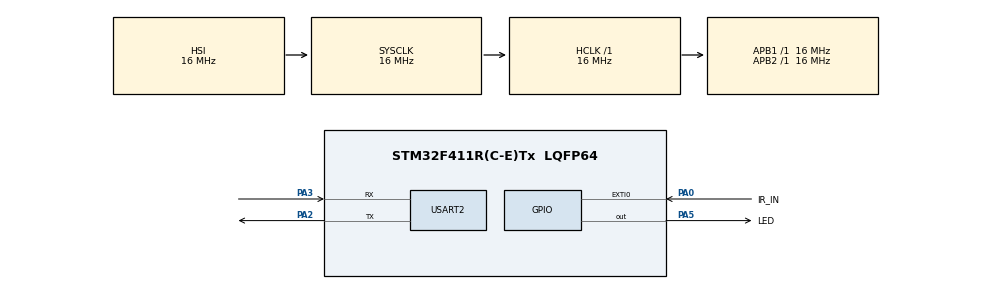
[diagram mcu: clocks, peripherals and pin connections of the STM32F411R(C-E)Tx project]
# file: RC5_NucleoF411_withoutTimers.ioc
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Mcu.Family=STM32F4
Mcu.Name=STM32F411R(C-E)Tx
Mcu.Package=LQFP64
NVIC.EXTI0_IRQn=true\:0\:0\:false\:false\:true\:true\:true\:true
NVIC.PriorityGroup=NVIC_PRIORITYGROUP_4
PA0-WKUP.GPIO_Label=IR_IN
PA0-WKUP.GPIO_ModeDefaultEXTI=GPIO_MODE_IT_RISING_FALLING
PA0-WKUP.Signal=GPXTI0
PA13.Mode=Serial_Wire
PA13.Signal=SYS_JTMS-SWDIO
PA14.Mode=Serial_Wire
PA14.Signal=SYS_JTCK-SWCLK
PA2.Mode=Asynchronous
PA2.Signal=USART2_TX
PA3.Mode=Asynchronous
PA3.Signal=USART2_RX
PA5.GPIO_Label=LED
PA5.Signal=GPIO_Output
ProjectManager.HeapSize=0x200
ProjectManager.StackSize=0x400
ProjectManager.TargetToolchain=STM32CubeIDE
RCC.AHBFreq_Value=16000000
RCC.APB1Freq_Value=16000000
RCC.APB2Freq_Value=16000000
RCC.CortexFreq_Value=16000000
RCC.HSE_VALUE=25000000
RCC.HSI_VALUE=16000000
RCC.LSE_VALUE=32768
RCC.SYSCLKFreq_VALUE=16000000
RCC.VCOOutputFreq_Value=192000000
USART2.VirtualMode=VM_ASYNC
board=custom

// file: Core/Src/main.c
/* USER CODE BEGIN Header */
/**
  ******************************************************************************
  * @file           : main.c
  * @brief          : Main program body
  ******************************************************************************
  * @attention
  *
  * Copyright (c) 2025 STMicroelectronics.
  * All rights reserved.
  *
  * This software is licensed under terms that can be found in the LICENSE file
  * Software made by: Bartosz Wojciechowski
  *
  * software is based on the Arduino RC5 library: https://github.com/guyc/RC5
			 *  RC5 Arduino Library
			 *  Guy Carpenter, Clearwater Software - 2013
			 *  Licensed under the BSD2 license, see LICENSE for details.

  *
  *
  *All text above must be included in any redistribution.
  *
  ******************************************************************************
  */
/* USER CODE END Header */
#include "main.h"

/* USER CODE BEGIN Includes */
#include <stdbool.h>
#include <stdio.h>

/* USER CODE END Includes */

/* USER CODE BEGIN PTD */

#define MIN_SHORT  444
#define MAX_SHORT 1333
#define MIN_LONG  1334
#define MAX_LONG  2222

#define EVENT_SHORTSPACE  0
#define EVENT_SHORTPULSE  2
#define EVENT_LONGSPACE   4
#define EVENT_LONGPULSE   6

#define STATE_START1 0
#define STATE_MID1   1
#define STATE_MID0   2
#define STATE_START0 3

#define S2_MASK       0x1000  // 1 bit
#define S2_SHIFT      12
#define TOGGLE_MASK   0x0800  // 1 bit
#define TOGGLE_SHIFT  11
#define ADDRESS_MASK  0x7C0  //  5 bits
#define ADDRESS_SHIFT 6
#define COMMAND_MASK  0x003F //  low 6 bits
#define COMMAND_SHIFT 0

/* USER CODE END PTD */

UART_HandleTypeDef huart2;

void SystemClock_Config(void);
static void MX_GPIO_Init(void);
static void MX_USART2_UART_Init(void);

/* USER CODE BEGIN 0 */
uint32_t micros() {
    uint32_t m;
    uint32_t t;
    uint32_t reload = SysTick->LOAD;
    uint32_t clk_per_us = HAL_RCC_GetHCLKFreq() / 1000000;
    m = HAL_GetTick();   // Read milliseconds
    t = SysTick->VAL;    // Read SysTick counter (decreasing)
    return (m * 1000) + ((reload - t) / clk_per_us);
}

//variables for RC5 functions
const uint8_t trans[] = {0x01,
                               0x91,
                               0x9B,
                               0xFB};

unsigned char state;
uint32_t time0;
GPIO_PinState lastValue;
uint8_t bits;
uint16_t command;

//variables for main code
unsigned char toggle;
unsigned char address;
unsigned char rcommand;
bool  receivedDataTrig = false;

/* USER CODE END 0 */

int main(void)
{

  /* MCU Configuration--------------------------------------------------------*/

  /* Reset of all peripherals, Initializes the Flash interface and the Systick. */
  HAL_Init();

  /* Configure the system clock */
  SystemClock_Config();

  /* Initialize all configured peripherals */
  MX_GPIO_Init();
  MX_USART2_UART_Init();

  /* Infinite loop */
  while (1)
  {

    /* USER CODE BEGIN 3 */

	  if (true == receivedDataTrig)
	  {

	  	char buffer[64];
	  	int length = snprintf(buffer, sizeof(buffer), "RC5:Toggle=%d, Address=%d, Command=%d \r\n", toggle, address, rcommand);
	  	HAL_UART_Transmit(&huart2, (uint8_t*)buffer, length, HAL_MAX_DELAY);
	  receivedDataTrig = false;

	  }
  }
  /* USER CODE END 3 */
}

void SystemClock_Config(void)
{
  RCC_OscInitTypeDef RCC_OscInitStruct = {0};
  RCC_ClkInitTypeDef RCC_ClkInitStruct = {0};

  /** Configure the main internal regulator output voltage
  */
  __HAL_RCC_PWR_CLK_ENABLE();
  __HAL_PWR_VOLTAGESCALING_CONFIG(PWR_REGULATOR_VOLTAGE_SCALE1);

  /** Initializes the RCC Oscillators according to the specified parameters
  * in the RCC_OscInitTypeDef structure.
  */
  RCC_OscInitStruct.OscillatorType = RCC_OSCILLATORTYPE_HSI;
  RCC_OscInitStruct.HSIState = RCC_HSI_ON;
  RCC_OscInitStruct.HSICalibrationValue = RCC_HSICALIBRATION_DEFAULT;
  RCC_OscInitStruct.PLL.PLLState = RCC_PLL_NONE;
  if (HAL_RCC_OscConfig(&RCC_OscInitStruct) != HAL_OK)
  {
    Error_Handler();
  }

  /** Initializes the CPU, AHB and APB buses clocks
  */
  RCC_ClkInitStruct.ClockType = RCC_CLOCKTYPE_HCLK|RCC_CLOCKTYPE_SYSCLK
                              |RCC_CLOCKTYPE_PCLK1|RCC_CLOCKTYPE_PCLK2;
  RCC_ClkInitStruct.SYSCLKSource = RCC_SYSCLKSOURCE_HSI;
  RCC_ClkInitStruct.AHBCLKDivider = RCC_SYSCLK_DIV1;
  RCC_ClkInitStruct.APB1CLKDivider = RCC_HCLK_DIV1;
  RCC_ClkInitStruct.APB2CLKDivider = RCC_HCLK_DIV1;

  if (HAL_RCC_ClockConfig(&RCC_ClkInitStruct, FLASH_LATENCY_0) != HAL_OK)
  {
    Error_Handler();
  }
}

static void MX_USART2_UART_Init(void)
{

  huart2.Instance = USART2;
  huart2.Init.BaudRate = 115200;
  huart2.Init.WordLength = UART_WORDLENGTH_8B;
  huart2.Init.StopBits = UART_STOPBITS_1;
  huart2.Init.Parity = UART_PARITY_NONE;
  huart2.Init.Mode = UART_MODE_TX_RX;
  huart2.Init.HwFlowCtl = UART_HWCONTROL_NONE;
  huart2.Init.OverSampling = UART_OVERSAMPLING_16;
  if (HAL_UART_Init(&huart2) != HAL_OK)
  {
    Error_Handler();
  }

}

static void MX_GPIO_Init(void)
{
  GPIO_InitTypeDef GPIO_InitStruct = {0};

  /* GPIO Ports Clock Enable */
  __HAL_RCC_GPIOA_CLK_ENABLE();

  /*Configure GPIO pin Output Level */
  HAL_GPIO_WritePin(LED_GPIO_Port, LED_Pin, GPIO_PIN_RESET);

  /*Configure GPIO pin : IR_IN_Pin */
  GPIO_InitStruct.Pin = IR_IN_Pin;
  GPIO_InitStruct.Mode = GPIO_MODE_IT_RISING_FALLING;
  GPIO_InitStruct.Pull = GPIO_NOPULL;
  HAL_GPIO_Init(IR_IN_GPIO_Port, &GPIO_InitStruct);

  /*Configure GPIO pin : LED_Pin */
  GPIO_InitStruct.Pin = LED_Pin;
  GPIO_InitStruct.Mode = GPIO_MODE_OUTPUT_PP;
  GPIO_InitStruct.Pull = GPIO_NOPULL;
  GPIO_InitStruct.Speed = GPIO_SPEED_FREQ_LOW;
  HAL_GPIO_Init(LED_GPIO_Port, &GPIO_InitStruct);

  /* EXTI interrupt init*/
  HAL_NVIC_SetPriority(EXTI0_IRQn, 0, 0);
  HAL_NVIC_EnableIRQ(EXTI0_IRQn);

}

/* USER CODE BEGIN 4 */

void RC5reset()
{
    state = STATE_MID1;
    bits = 1;  // bit counter
    command = 1;
    time0 = micros();
}

void RC5decodeEvent(uint8_t event) //update command
{
    uint8_t newState = (trans[state]>>event) & 0x3;
    if (newState==state) {
        RC5reset();
    } else {
        state = newState;
        if (newState == STATE_MID0) {
            command = (command<<1)+0;
            bits++;
        } else if (newState == STATE_MID1) {
            command = (command<<1)+1;
            bits++;
        }
    }
}

void RC5decodePulse(GPIO_PinState signal, uint32_t period) //determine the event
{
    if (period >= MIN_SHORT && period <= MAX_SHORT) {
    	RC5decodeEvent(signal ? EVENT_SHORTPULSE : EVENT_SHORTSPACE);
    } else if (period >= MIN_LONG && period <= MAX_LONG) {
    	RC5decodeEvent(signal ? EVENT_LONGPULSE : EVENT_LONGSPACE);
    } else {
        // time period out of range, reset
    	RC5reset();
    }
}

bool RC5read1(uint16_t *message) //read RC5
{

	GPIO_PinState value = HAL_GPIO_ReadPin(IR_IN_GPIO_Port, IR_IN_Pin); //adjust to your pin name!!!

    if (value != lastValue) {
    	uint32_t time1 = micros();
    	uint32_t elapsed = time1-time0;
        time0 = time1;
        lastValue = value;
        RC5decodePulse(value, elapsed);
    }

    if (bits == 14) {
        *message = command;
        command = 0;
        bits = 0;
        return 1;
    } else {
        return 0;
    }
}

bool RC5read(unsigned char *toggle, unsigned char *address, unsigned char *command) //read RC5 and update toggle address and command
{
    uint16_t message;
    if (RC5read1(&message)) {
        *toggle  = (message & TOGGLE_MASK ) >> TOGGLE_SHIFT;
        *address = (message & ADDRESS_MASK) >> ADDRESS_SHIFT;

        // Support for extended RC5:
        // to get extended command, invert S2 and shift into command's 7th bit
        uint16_t extended;
        extended = (~message & S2_MASK) >> (S2_SHIFT - 6);
        *command = ((message & COMMAND_MASK) >> COMMAND_SHIFT) | extended;

        return 1;
    } else {
        return 0;
    }
}

void HAL_GPIO_EXTI_Callback(uint16_t GPIO_Pin){

	if(RC5read(&toggle, &address, &rcommand))
	{
		receivedDataTrig = true;
	}

}

/* USER CODE END 4 */

void Error_Handler(void)
{
  __disable_irq();
  while (1)
  {
  }
}
